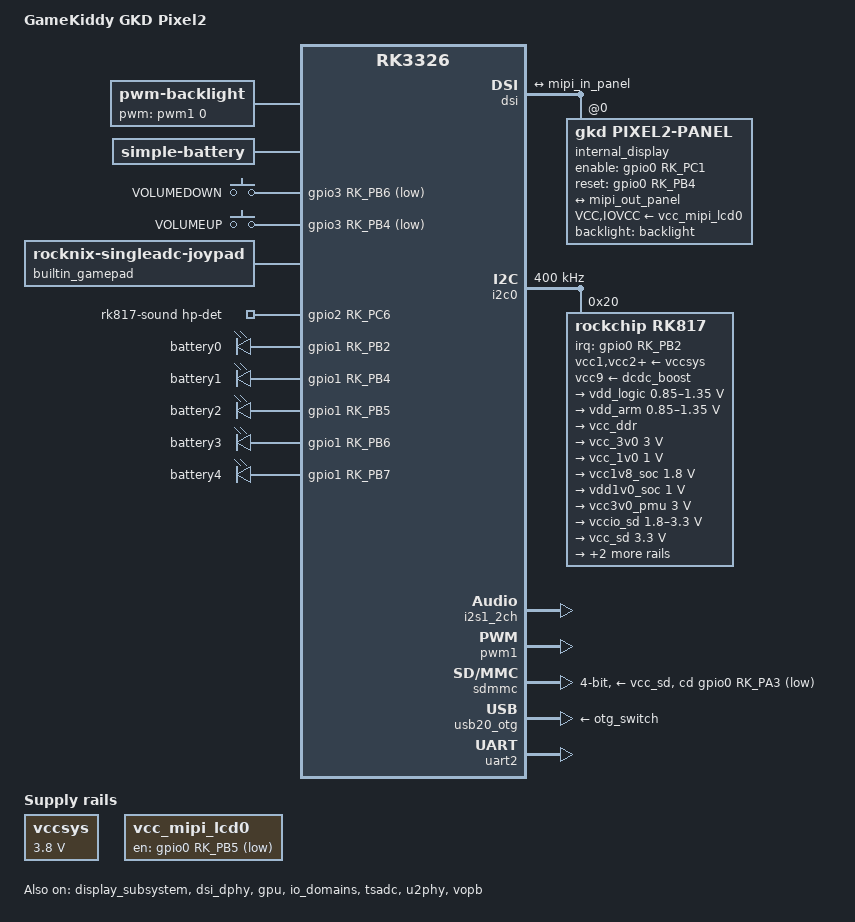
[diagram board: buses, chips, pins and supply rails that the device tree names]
// SPDX-License-Identifier: (GPL-2.0+ OR MIT)
/*
 * Copyright (c) 2024 GameKiddy
 *
 * Reconstructed from the vendor-extracted rk3326s-gkd-pixel2.dtsi into a
 * mainline/ROCKNIX-style board .dts on top of the shared rk3326.dtsi,
 * mirroring the other standalone RK3326 boards in this tree (e.g.
 * rk3326-gameforce-chi.dts).
 *
 * No analog sticks - every input is a plain GPIO switch - so the gamepad
 * uses rocknix-singleadc-joypad with amux-count = <0>, same as the other
 * all-digital RK3326 boards (e.g. rk3326-gameconsole-r33s.dts).
 */

/dts-v1/;
#include <dt-bindings/gpio/gpio.h>
#include <dt-bindings/input/input.h>
#include <dt-bindings/leds/common.h>
#include <dt-bindings/pinctrl/rockchip.h>
#include "rk3326.dtsi"

/ {
	model = "GameKiddy GKD Pixel2";
	compatible = "gamekiddy,gkd-pixel2", "rockchip,rk3326";
	chassis-type = "handset";

	aliases {
		mmc0 = &sdmmc;
	};

	chosen {
		stdout-path = "serial2:1500000n8";
	};

	backlight: backlight {
		compatible = "pwm-backlight";
		pwms = <&pwm1 0 25000 1>;
		brightness-levels = <
		  0   1   2   3   4   5   6   7
		  8   9  10  11  12  13  14  15
		 16  17  18  19  20  21  22  23
		 24  25  26  27  28  29  30  31
		 32  33  34  35  36  37  38  39
		 40  41  42  43  44  45  46  47
		 48  49  50  51  52  53  54  55
		 56  57  58  59  60  61  62  63
		 64  65  66  67  68  69  70  71
		 72  73  74  75  76  77  78  79
		 80  81  82  83  84  85  86  87
		 88  89  90  91  92  93  94  95
		 96  97  98  99 100 101 102 103
		104 105 106 107 108 109 110 111
		112 113 114 115 116 117 118 119
		120 121 122 123 124 125 126 127
		128 129 130 131 132 133 134 135
		136 137 138 139 140 141 142 143
		144 145 146 147 148 149 150 151
		152 153 154 155 156 157 158 159
		160 161 162 163 164 165 166 167
		168 169 170 171 172 173 174 175
		176 177 178 179 180 181 182 183
		184 185 186 187 188 189 190 191
		192 193 194 195 196 197 198 199
		200 201 202 203 204 205 206 207
		208 209 210 211 212 213 214 215
		216 217 218 219 220 221 222 223
		224 225 226 227 228 229 230 231
		232 233 234 235 236 237 238 239
		240 241 242 243 244 245 246 247
		248 249 250 251 252 253 254 255>;
		default-brightness-level = <200>;
	};

	battery: battery {
		compatible = "simple-battery";
		charge-full-design-microamp-hours = <1730000>;
		charge-term-current-microamp = <300000>;
		constant-charge-current-max-microamp = <2000000>;
		constant-charge-voltage-max-microvolt = <4350000>;
		factory-internal-resistance-micro-ohms = <111000>;
		voltage-max-design-microvolt = <4333000>;
		voltage-min-design-microvolt = <3400000>;

		ocv-capacity-celsius = <20>;
		ocv-capacity-table-0 =  <4333000 100>, <4276000 95>, <4217000 90>, <4163000 85>,
					<4107000 80>, <4062000 75>, <4011000 70>, <3967000 65>,
					<3921000 60>, <3878000 55>, <3848000 50>, <3826000 45>,
					<3805000 40>, <3790000 35>, <3776000 30>, <3754000 25>,
					<3738000 20>, <3708000 15>, <3694000 10>, <3643000 5>,
					<3444000 0>;
	};

	gpio_keys: gpio-keys {
		compatible = "gpio-keys";
		pinctrl-names = "default";
		pinctrl-0 = <&volume_gpio>;
		autorepeat;

		button-vol-down {
			gpios = <&gpio3 RK_PB6 GPIO_ACTIVE_LOW>;
			label = "VOLUMEDOWN";
			linux,code = <KEY_VOLUMEDOWN>;
		};

		button-vol-up {
			gpios = <&gpio3 RK_PB4 GPIO_ACTIVE_LOW>;
			label = "VOLUMEUP";
			linux,code = <KEY_VOLUMEUP>;
		};
	};

	/*
	 * TODO: D-pad/X-Y/shoulder/select-start/menu mappings below are
	 * cross-validated against the vendor devicetree but not yet
	 * confirmed on real hardware (unlike the A/B swap). Re-verify once
	 * hardware testing resumes.
	 */
	builtin_gamepad: gkd-pixel2-joypad {
		compatible = "rocknix-singleadc-joypad";
		pinctrl-names = "default";
		pinctrl-0 = <&btn_pins>;
		joypad-name = "gkd_pixel2_joypad";
		joypad-vendor = <0x0001>;
		joypad-product = <0x2102>;
		joypad-revision = <0x0100>;
		status = "okay";

		/* purely digital switches - no ADC/analog stick present */
		amux-count = <0>;
		poll-interval = <10>;

		/*
		 * Rumble motor disabled: re-enabling it (pwms/pwm-names/
		 * rumble-boost-*, plus &pwm0 status=okay below) makes the
		 * motor run constantly at full strength once Linux boots,
		 * regardless of PWM_POLARITY_NORMAL vs INVERTED - so it isn't
		 * a simple polarity mismatch, and the software side (duty=0,
		 * disabled) is confirmed correctly applied. Root cause (likely
		 * a PWM chip-driver quirk on disable) not yet found. Leaving
		 * pwms/pwm-names/rumble-boost-* out entirely keeps has_rumble
		 * false in rocknix-singleadc-joypad, and &pwm0 disabled below
		 * for the same reason.
		 */

		button-up {
			gpios = <&gpio3 RK_PB5 GPIO_ACTIVE_LOW>;
			label = "DPAD-UP";
			linux,code = <BTN_DPAD_UP>;
		};

		button-down {
			gpios = <&gpio3 RK_PC4 GPIO_ACTIVE_LOW>;
			label = "DPAD-DOWN";
			linux,code = <BTN_DPAD_DOWN>;
		};

		button-left {
			gpios = <&gpio3 RK_PB3 GPIO_ACTIVE_LOW>;
			label = "DPAD-LEFT";
			linux,code = <BTN_DPAD_LEFT>;
		};

		button-right {
			gpios = <&gpio3 RK_PA4 GPIO_ACTIVE_LOW>;
			label = "DPAD-RIGHT";
			linux,code = <BTN_DPAD_RIGHT>;
		};

		button-a {
			gpios = <&gpio3 RK_PD1 GPIO_ACTIVE_LOW>;
			label = "SOUTH";
			linux,code = <BTN_SOUTH>;
		};

		button-b {
			gpios = <&gpio3 RK_PD2 GPIO_ACTIVE_LOW>;
			label = "EAST";
			linux,code = <BTN_EAST>;
		};

		button-x {
			gpios = <&gpio3 RK_PA5 GPIO_ACTIVE_LOW>;
			label = "NORTH";
			linux,code = <BTN_NORTH>;
		};

		button-y {
			gpios = <&gpio3 RK_PA6 GPIO_ACTIVE_LOW>;
			label = "WEST";
			linux,code = <BTN_WEST>;
		};

		button-l1 {
			gpios = <&gpio3 RK_PC0 GPIO_ACTIVE_LOW>;
			label = "TOP-LEFT";
			linux,code = <BTN_TL>;
		};

		button-r1 {
			gpios = <&gpio3 RK_PB2 GPIO_ACTIVE_LOW>;
			label = "TOP-RIGHT";
			linux,code = <BTN_TR>;
		};

		button-l2 {
			gpios = <&gpio3 RK_PC1 GPIO_ACTIVE_LOW>;
			label = "TOP-LEFT2";
			linux,code = <BTN_TL2>;
		};

		button-r2 {
			gpios = <&gpio3 RK_PC3 GPIO_ACTIVE_LOW>;
			label = "TOP-RIGHT2";
			linux,code = <BTN_TR2>;
		};

		button-select {
			gpios = <&gpio3 RK_PC2 GPIO_ACTIVE_LOW>;
			label = "SELECT";
			linux,code = <BTN_SELECT>;
		};

		button-start {
			gpios = <&gpio3 RK_PD3 GPIO_ACTIVE_LOW>;
			label = "START";
			linux,code = <BTN_START>;
		};

		button-menu {
			gpios = <&gpio3 RK_PC5 GPIO_ACTIVE_LOW>;
			label = "FUNCTION";
			linux,code = <BTN_TRIGGER_HAPPY1>;
		};
	};

	rk817-sound {
		compatible = "simple-audio-card";
		simple-audio-card,name = "rk817_int";
		simple-audio-card,format = "i2s";
		simple-audio-card,hp-det-gpio = <&gpio2 RK_PC6 GPIO_ACTIVE_HIGH>;
		simple-audio-card,mclk-fs = <256>;
		simple-audio-card,widgets =
			"Microphone", "Mic Jack",
			"Headphone", "Headphones",
			"Speaker", "Speaker";
		simple-audio-card,routing =
			"MICL", "Mic Jack",
			"Headphones", "HPOL",
			"Headphones", "HPOR",
			"Speaker", "SPKO";

		simple-audio-card,codec {
			sound-dai = <&rk817>;
		};

		simple-audio-card,cpu {
			sound-dai = <&i2s1_2ch>;
		};
	};

	vccsys: regulator-vccsys {
		compatible = "regulator-fixed";
		regulator-name = "vcc3v8_sys";
		regulator-always-on;
		regulator-boot-on;
		regulator-min-microvolt = <3800000>;
		regulator-max-microvolt = <3800000>;
	};

	vcc_mipi_lcd0: regulator-vcc-mipi-lcd0 {
		compatible = "regulator-fixed";
		regulator-name = "vcc_mipi_lcd0";
		gpio = <&gpio0 RK_PB5 GPIO_ACTIVE_LOW>;
		pinctrl-0 = <&vcc_mipi_lcd_n>;
		pinctrl-names = "default";
		regulator-boot-on;

		regulator-state-mem {
			regulator-off-in-suspend;
		};
	};

	leds {
		compatible = "gpio-leds";
		pinctrl-names = "default";
		pinctrl-0 = <&led_gpio>;

		led-0 {
			gpios = <&gpio1 RK_PB2 GPIO_ACTIVE_HIGH>;
			label = "battery0";
		};
		led-1 {
			gpios = <&gpio1 RK_PB4 GPIO_ACTIVE_HIGH>;
			label = "battery1";
		};
		led-2 {
			gpios = <&gpio1 RK_PB5 GPIO_ACTIVE_HIGH>;
			label = "battery2";
		};
		led-3 {
			gpios = <&gpio1 RK_PB6 GPIO_ACTIVE_HIGH>;
			label = "battery3";
		};
		led-4 {
			gpios = <&gpio1 RK_PB7 GPIO_ACTIVE_HIGH>;
			label = "battery4";
		};
	};
};

&cpu0 {
	cpu-supply = <&vdd_arm>;
};

&cpu1 {
	cpu-supply = <&vdd_arm>;
};

&cpu2 {
	cpu-supply = <&vdd_arm>;
};

&cpu3 {
	cpu-supply = <&vdd_arm>;
};

&display_subsystem {
	status = "okay";
};

&dsi {
	#address-cells = <1>;
	#size-cells = <0>;
	status = "okay";

	internal_display: panel@0 {
		reg = <0>;
		compatible = "gkd,pixel2-panel";
		backlight = <&backlight>;
		VCC-supply = <&vcc_mipi_lcd0>;
		IOVCC-supply = <&vcc_mipi_lcd0>;
		enable-gpios = <&gpio0 RK_PC1 GPIO_ACTIVE_HIGH>;
		reset-gpios = <&gpio0 RK_PB4 GPIO_ACTIVE_HIGH>;
		pinctrl-names = "default";
		pinctrl-0 = <&dsi0_lcd_gpio>;
		/*
		 * 90 produced an upside-down image (180 degrees off from
		 * correct) once the panel actually started displaying
		 * anything - this panel is mounted 270 degrees relative to
		 * its native portrait orientation in this chassis, not 90.
		 */
		rotation = <270>;

		port {
			mipi_in_panel: endpoint {
				remote-endpoint = <&mipi_out_panel>;
			};
		};
	};

	ports {
		mipi_out: port@1 {
			reg = <1>;
			mipi_out_panel: endpoint {
				remote-endpoint = <&mipi_in_panel>;
			};
		};
	};
};

&dsi_dphy {
	compatible = "rockchip,px30s-dsi-dphy", "rockchip,px30-dsi-dphy";
	status = "okay";
};

&gpu {
	mali-supply = <&vdd_logic>;
	status = "okay";
};

&i2c0 {
	clock-frequency = <400000>;
	i2c-scl-falling-time-ns = <16>;
	i2c-scl-rising-time-ns = <280>;
	status = "okay";

	/*
	 * KNOWN ISSUE: device suspends correctly but never wakes (confirmed
	 * on hardware). Two fixes were tried and reverted after testing
	 * showed no change: (1) dev_pm_set_wake_irq() for the rk805-pwrkey
	 * fall_irq, and (2) porting rockchip_pm_config.c to forward this
	 * board's rockchip,sleep-mode-config/wakeup-config values to BL31 via
	 * the SIP_SUSPEND_MODE call. On PX30S the deepest sleep states are
	 * governed by ATF/BL31 firmware rather than Linux, so root cause
	 * likely lies there - not yet diagnosed further.
	 */
	rk817: pmic@20 {
		compatible = "rockchip,rk817";
		reg = <0x20>;
		interrupt-parent = <&gpio0>;
		interrupts = <RK_PB2 IRQ_TYPE_LEVEL_LOW>;
		clock-output-names = "rk808-clkout1", "xin32k";
		clock-names = "mclk";
		clocks = <&cru SCLK_I2S1_OUT>;
		pinctrl-names = "default";
		pinctrl-0 = <&pmic_int>, <&i2s1_2ch_mclk>;
		rockchip,system-power-controller;
		wakeup-source;
		#clock-cells = <1>;
		#sound-dai-cells = <0>;

		vcc1-supply = <&vccsys>;
		vcc2-supply = <&vccsys>;
		vcc3-supply = <&vccsys>;
		vcc4-supply = <&vccsys>;
		vcc5-supply = <&vccsys>;
		vcc6-supply = <&vccsys>;
		vcc7-supply = <&vccsys>;
		vcc8-supply = <&vccsys>;
		vcc9-supply = <&dcdc_boost>;

		regulators {
			vdd_logic: DCDC_REG1 {
				regulator-name = "vdd_logic";
				regulator-min-microvolt = <850000>;
				regulator-max-microvolt = <1350000>;
				regulator-ramp-delay = <6001>;
				regulator-initial-mode = <2>;
				regulator-always-on;
				regulator-boot-on;

				regulator-state-mem {
					regulator-on-in-suspend;
					regulator-suspend-microvolt = <950000>;
				};
			};

			vdd_arm: DCDC_REG2 {
				regulator-name = "vdd_arm";
				regulator-min-microvolt = <850000>;
				regulator-max-microvolt = <1350000>;
				regulator-ramp-delay = <6001>;
				regulator-initial-mode = <2>;
				regulator-always-on;
				regulator-boot-on;

				regulator-state-mem {
					regulator-off-in-suspend;
					regulator-suspend-microvolt = <950000>;
				};
			};

			vcc_ddr: DCDC_REG3 {
				regulator-name = "vcc_ddr";
				regulator-initial-mode = <2>;
				regulator-always-on;
				regulator-boot-on;

				regulator-state-mem {
					regulator-on-in-suspend;
				};
			};

			vcc_3v0: DCDC_REG4 {
				regulator-name = "vcc_3v0";
				regulator-min-microvolt = <3000000>;
				regulator-max-microvolt = <3000000>;
				regulator-initial-mode = <2>;
				regulator-always-on;
				regulator-boot-on;

				regulator-state-mem {
					regulator-off-in-suspend;
					regulator-suspend-microvolt = <3000000>;
				};
			};

			vcc_1v0: LDO_REG1 {
				regulator-name = "vcc_1v0";
				regulator-min-microvolt = <1000000>;
				regulator-max-microvolt = <1000000>;
				regulator-always-on;
				regulator-boot-on;

				regulator-state-mem {
					regulator-off-in-suspend;
					regulator-suspend-microvolt = <1000000>;
				};
			};

			vcc1v8_soc: LDO_REG2 {
				regulator-name = "vcc1v8_soc";
				regulator-min-microvolt = <1800000>;
				regulator-max-microvolt = <1800000>;
				regulator-always-on;
				regulator-boot-on;

				regulator-state-mem {
					regulator-on-in-suspend;
					regulator-suspend-microvolt = <1800000>;
				};
			};

			vdd1v0_soc: LDO_REG3 {
				regulator-name = "vcc1v0_soc";
				regulator-min-microvolt = <1000000>;
				regulator-max-microvolt = <1000000>;
				regulator-always-on;
				regulator-boot-on;

				regulator-state-mem {
					regulator-on-in-suspend;
					regulator-suspend-microvolt = <1000000>;
				};
			};

			vcc3v0_pmu: LDO_REG4 {
				regulator-name = "vcc3v0_pmu";
				regulator-min-microvolt = <3000000>;
				regulator-max-microvolt = <3000000>;
				regulator-always-on;
				regulator-boot-on;

				regulator-state-mem {
					regulator-on-in-suspend;
					regulator-suspend-microvolt = <3000000>;
				};
			};

			vccio_sd: LDO_REG5 {
				regulator-name = "vccio_sd";
				regulator-min-microvolt = <1800000>;
				regulator-max-microvolt = <3300000>;
				regulator-always-on;
				regulator-boot-on;

				regulator-state-mem {
					regulator-off-in-suspend;
					regulator-suspend-microvolt = <3300000>;
				};
			};

			vcc_sd: LDO_REG6 {
				regulator-name = "vcc_sd";
				regulator-min-microvolt = <3300000>;
				regulator-max-microvolt = <3300000>;
				regulator-boot-on;

				regulator-state-mem {
					regulator-off-in-suspend;
					regulator-suspend-microvolt = <3300000>;
				};
			};

			dcdc_boost: BOOST {
				regulator-name = "boost";
				regulator-min-microvolt = <5000000>;
				regulator-max-microvolt = <5000000>;
				regulator-always-on;
				regulator-boot-on;

				regulator-state-mem {
					regulator-off-in-suspend;
				};
			};

			otg_switch: OTG_SWITCH {
				regulator-name = "otg_switch";

				regulator-state-mem {
					regulator-off-in-suspend;
				};
			};
		};

		rk817_charger: charger {
			rockchip,resistor-sense-micro-ohms = <10000>;
			rockchip,sleep-enter-current-microamp = <300000>;
			rockchip,sleep-filter-current-microamp = <100000>;
			monitored-battery = <&battery>;
		};

		rk817_codec: codec {
			rockchip,mic-in-differential;
		};
	};
};

&i2s1_2ch {
	status = "okay";
};

&io_domains {
	vccio1-supply = <&vcc_3v0>;
	vccio2-supply = <&vccio_sd>;
	vccio3-supply = <&vcc_3v0>;
	vccio4-supply = <&vcc_3v0>;
	vccio5-supply = <&vcc_3v0>;
	vccio6-supply = <&vcc_3v0>;
	status = "okay";
};

&pmu_io_domains {
	pmuio1-supply = <&vcc3v0_pmu>;
	pmuio2-supply = <&vcc3v0_pmu>;
	status = "okay";
};

/*
 * Rumble motor disabled for now (see comment on the joypad node above) -
 * pwm0 is only used by the motor on this board (pwm1 drives the backlight
 * and stays enabled below), so disable it fully at the controller/clock
 * level rather than just leaving it unreferenced.
 */
&pwm0 {
	status = "disabled";
};

&pwm1 {
	status = "okay";
};

&sdmmc {
	bus-width = <4>;
	cap-mmc-highspeed;
	cap-sd-highspeed;
	card-detect-delay = <800>;
	cd-gpios = <&gpio0 RK_PA3 GPIO_ACTIVE_LOW>;
	disable-wp;
	sd-uhs-sdr12;
	sd-uhs-sdr25;
	sd-uhs-sdr50;
	sd-uhs-sdr104;
	vmmc-supply = <&vcc_sd>;
	vqmmc-supply = <&vccio_sd>;
	status = "okay";
};

/*
 * This board's silicon is PX30S, a distinct chip variant from plain PX30
 * (confirmed via DDR_GRF_CON1 bits[15:14] == 0b11), needing a different
 * ADC init sequence, a mandatory 4MHz clock rate, a ~2.1ms post-enable
 * settle delay, and a linear code<->temp conversion instead of a lookup
 * table - see 023-px30s-tsadc-support.patch, which adds the
 * "rockchip,px30s-tsadc" compatible used below.
 *
 * If a silent reset recurs, check the hardware rockchip,hw-tshut-temp
 * auto-reset circuit first - it sits outside Linux's control entirely.
 */
&tsadc {
	compatible = "rockchip,px30s-tsadc";
	status = "okay";
};

&u2phy {
	status = "okay";

	u2phy_host: host-port {
		status = "okay";
	};

	u2phy_otg: otg-port {
		status = "okay";
	};
};

&usb20_otg {
	/*
	 * Without this, dwc2 never enables the PMIC's otg_switch 5V boost
	 * regulator in host mode (confirmed via stock-firmware dmesg: dwc2
	 * looks up "vbus-supply" and otg_switch stays disabled with nothing
	 * to enable it) - so a plugged-in peripheral gets data lines but no
	 * bus power and never enumerates.
	 */
	vbus-supply = <&otg_switch>;
	status = "okay";
};

&uart2 {
	pinctrl-names = "default";
	pinctrl-0 = <&uart2m1_xfer>;
	status = "okay";
};

&vopb {
	status = "okay";
};

&vopb_mmu {
	status = "okay";
};

&pinctrl {
	btns {
		btn_pins: btn-pins {
			rockchip,pins =
				<3 RK_PB5 RK_FUNC_GPIO &pcfg_pull_up>,
				<3 RK_PC4 RK_FUNC_GPIO &pcfg_pull_up>,
				<3 RK_PB3 RK_FUNC_GPIO &pcfg_pull_up>,
				<3 RK_PA4 RK_FUNC_GPIO &pcfg_pull_up>,
				<3 RK_PD1 RK_FUNC_GPIO &pcfg_pull_up>,
				<3 RK_PD2 RK_FUNC_GPIO &pcfg_pull_up>,
				<3 RK_PA5 RK_FUNC_GPIO &pcfg_pull_up>,
				<3 RK_PA6 RK_FUNC_GPIO &pcfg_pull_up>,
				<3 RK_PC5 RK_FUNC_GPIO &pcfg_pull_up>,
				<3 RK_PD3 RK_FUNC_GPIO &pcfg_pull_up>,
				<3 RK_PC2 RK_FUNC_GPIO &pcfg_pull_up>,
				<3 RK_PC0 RK_FUNC_GPIO &pcfg_pull_up>,
				<3 RK_PB2 RK_FUNC_GPIO &pcfg_pull_up>,
				<3 RK_PC1 RK_FUNC_GPIO &pcfg_pull_up>,
				<3 RK_PC3 RK_FUNC_GPIO &pcfg_pull_up>;
		};
	};

	keys {
		volume_gpio: volume-gpio {
			rockchip,pins =
				<3 RK_PB4 RK_FUNC_GPIO &pcfg_pull_up>,
				<3 RK_PB6 RK_FUNC_GPIO &pcfg_pull_up>;
		};
	};

	headphone {
		hp_det: hp-det {
			rockchip,pins = <2 RK_PC6 RK_FUNC_GPIO &pcfg_pull_none>;
		};
	};

	led {
		led_gpio: led-gpio {
			rockchip,pins =
				<1 RK_PB2 RK_FUNC_GPIO &pcfg_pull_none>,
				<1 RK_PB4 RK_FUNC_GPIO &pcfg_pull_none>,
				<1 RK_PB5 RK_FUNC_GPIO &pcfg_pull_none>,
				<1 RK_PB6 RK_FUNC_GPIO &pcfg_pull_none>,
				<1 RK_PB7 RK_FUNC_GPIO &pcfg_pull_none>;
		};
	};

	dsi0-lcd {
		dsi0_lcd_gpio: dsi0-lcd-gpio {
			rockchip,pins =
				<0 RK_PC1 RK_FUNC_GPIO &pcfg_pull_none>,
				<0 RK_PB4 RK_FUNC_GPIO &pcfg_pull_up>;
		};
	};

	vcc-mipi-lcd {
		vcc_mipi_lcd_n: vcc-mipi-lcd-n {
			rockchip,pins = <0 RK_PB5 RK_FUNC_GPIO &pcfg_pull_none>;
		};
	};

	pmic {
		pmic_int: pmic-int {
			rockchip,pins = <0 RK_PB2 RK_FUNC_GPIO &pcfg_pull_up>;
		};

		soc_slppin_gpio: soc_slppin_gpio {
			rockchip,pins = <0 RK_PA4 RK_FUNC_GPIO &pcfg_output_low>;
		};

		soc_slppin_rst: soc_slppin_rst {
			rockchip,pins = <0 RK_PA4 2 &pcfg_pull_none>;
		};

		soc_slppin_slp: soc_slppin_slp {
			rockchip,pins = <0 RK_PA4 1 &pcfg_pull_none>;
		};
	};
};
